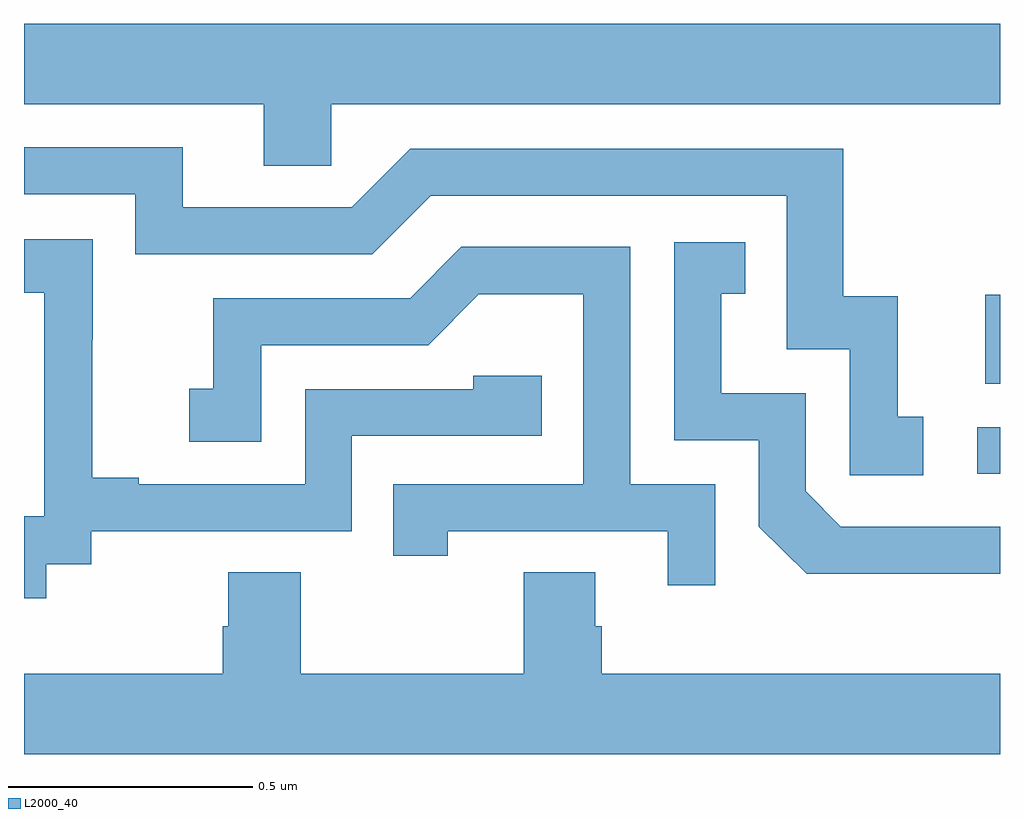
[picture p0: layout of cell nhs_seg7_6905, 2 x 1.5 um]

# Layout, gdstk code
import gdstk
lib = gdstk.Library(unit=1e-6, precision=1e-09)
def R(c, l, rs):  # rectangles x0, y0, x1, y1
    for r in rs: c.add(gdstk.rectangle(r[:2], r[2:], *l))
def P(c, l, *ps):  # polygons
    for p in ps: c.add(gdstk.Polygon(p, *l))
L2000_40 = (2000, 40)

nhs_seg7_6905 = lib.new_cell('nhs_seg7_6905')
R(nhs_seg7_6905, L2000_40, [(205.953,1055.802,206,1055.898), (205.97,1055.987,206,1056.169)])
P(nhs_seg7_6905, L2000_40, [(204.63,1056.56),(206,1056.56),(206,1056.724),(204,1056.724),(204,1056.56),(204.491,1056.56),(204.491,1056.433),(204.63,1056.433)],
  [(205.843,1055.919),(205.79,1055.919),(205.79,1056.166),(205.679,1056.166),(205.679,1056.468),(204.792,1056.468),(204.672,1056.348),(204.325,1056.348),(204.325,1056.471),(204,1056.471),(204,1056.375),(204.228,1056.375),(204.228,1056.252),(204.714,1056.252),(204.834,1056.372),(205.563,1056.372),(205.563,1056.057),(205.692,1056.057),(205.692,1055.799),(205.843,1055.799)],
  [(204.046,1055.617),(204.138,1055.617),(204.138,1055.685),(204.672,1055.685),(204.672,1055.88),(205.061,1055.88),(205.061,1056.003),(204.921,1056.003),(204.921,1055.976),(204.576,1055.976),(204.576,1055.781),(204.235,1055.781),(204.235,1055.794),(204.14,1055.794),(204.14,1056.077),(204.141,1056.077),(204.141,1056.283),(204,1056.283),(204,1056.173),(204.041,1056.173),(204.041,1055.945),(204.042,1055.945),(204.042,1055.715),(204,1055.715),(204,1055.547),(204.046,1055.547)],
  [(206,1055.694),(205.674,1055.694),(205.602,1055.766),(205.602,1055.967),(205.429,1055.967),(205.429,1056.171),(205.478,1056.171),(205.478,1056.277),(205.332,1056.277),(205.332,1055.871),(205.506,1055.871),(205.506,1055.694),(205.604,1055.597),(206,1055.597)],
  [(205.416,1055.781),(205.242,1055.781),(205.242,1056.267),(204.896,1056.267),(204.791,1056.162),(204.388,1056.162),(204.388,1055.977),(204.339,1055.977),(204.339,1055.868),(204.486,1055.868),(204.486,1056.066),(204.828,1056.066),(204.932,1056.17),(205.146,1056.17),(205.146,1055.781),(204.757,1055.781),(204.757,1055.634),(204.868,1055.634),(204.868,1055.685),(205.319,1055.685),(205.319,1055.574),(205.416,1055.574)],
  [(206,1055.392),(205.184,1055.392),(205.184,1055.49),(205.171,1055.49),(205.171,1055.6),(205.024,1055.6),(205.024,1055.392),(204.567,1055.392),(204.567,1055.6),(204.419,1055.6),(204.419,1055.49),(204.407,1055.49),(204.407,1055.392),(204,1055.392),(204,1055.228),(206,1055.228)])

lib.write_gds('nhs_seg7_6905.gds')
